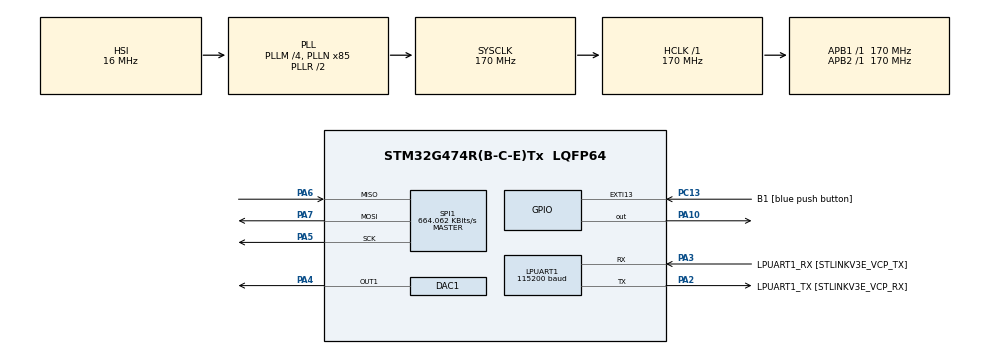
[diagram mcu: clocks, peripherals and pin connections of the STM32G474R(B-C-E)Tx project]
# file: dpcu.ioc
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LPUART1.BaudRate=115200
Mcu.Family=STM32G4
Mcu.Name=STM32G474R(B-C-E)Tx
Mcu.Package=LQFP64
NVIC.EXTI15_10_IRQn=true\:0\:0\:false\:false\:true\:true\:true\:true
NVIC.PriorityGroup=NVIC_PRIORITYGROUP_4
NVIC.SPI1_IRQn=true\:0\:0\:false\:false\:true\:true\:true\:true
NVIC.TIM6_DAC_IRQn=true\:0\:0\:false\:false\:true\:true\:true\:true
PA10.Signal=GPIO_Output
PA13.GPIO_Label=T_SWDIO
PA13.Signal=SYS_JTMS-SWDIO
PA14.GPIO_Label=T_SWCLK
PA14.Signal=SYS_JTCK-SWCLK
PA2.GPIO_Label=LPUART1_TX [STLINKV3E_VCP_RX]
PA2.Mode=Asynchronous
PA2.Signal=LPUART1_TX
PA3.GPIO_Label=LPUART1_RX [STLINKV3E_VCP_TX]
PA3.Mode=Asynchronous
PA3.Signal=LPUART1_RX
PA4.Signal=COMP_DAC11_group
PA5.Mode=Full_Duplex_Master
PA5.Signal=SPI1_SCK
PA6.Mode=Full_Duplex_Master
PA6.Signal=SPI1_MISO
PA7.Mode=Full_Duplex_Master
PA7.Signal=SPI1_MOSI
PB3.GPIO_Label=T_SWO
PB3.Signal=SYS_JTDO-SWO
PC13.GPIO_Label=B1 [blue push button]
PC13.Signal=GPXTI13
PC14-OSC32_IN.GPIO_Label=RCC_OSC32_IN
PC14-OSC32_IN.Signal=RCC_OSC32_IN
PC15-OSC32_OUT.GPIO_Label=RCC_OSC32_OUT
PC15-OSC32_OUT.Signal=RCC_OSC32_OUT
PF0-OSC_IN.GPIO_Label=RCC_OSC_IN
PF0-OSC_IN.Signal=RCC_OSC_IN
PF1-OSC_OUT.GPIO_Label=RCC_OSC_OUT
PF1-OSC_OUT.Signal=RCC_OSC_OUT
ProjectManager.HeapSize=0x200
ProjectManager.StackSize=0x400
ProjectManager.TargetToolchain=STM32CubeIDE
RCC.ADC12Freq_Value=170000000
RCC.ADC345Freq_Value=170000000
RCC.AHBFreq_Value=170000000
RCC.APB1Freq_Value=170000000
RCC.APB1TimFreq_Value=170000000
RCC.APB2Freq_Value=170000000
RCC.APB2TimFreq_Value=170000000
RCC.CortexFreq_Value=170000000
RCC.EXTERNAL_CLOCK_VALUE=12288000
RCC.HCLKFreq_Value=170000000
RCC.HSE_VALUE=24000000
RCC.HSI48_VALUE=48000000
RCC.HSI_VALUE=16000000
RCC.LSE_VALUE=32768
RCC.PLLM=RCC_PLLM_DIV4
RCC.PLLN=85
RCC.RTCClockSelection=RCC_RTCCLKSOURCE_LSE
RCC.SYSCLKFreq_VALUE=170000000
RCC.SYSCLKSource=RCC_SYSCLKSOURCE_PLLCLK
RCC.USBFreq_Value=170000000
RCC.VCOOutputFreq_Value=340000000
SH.COMP_DAC11_group.0=DAC1_OUT1,DAC_OUT1
SPI1.BaudRatePrescaler=SPI_BAUDRATEPRESCALER_256
SPI1.CalculateBaudRate=664.062 KBits/s
SPI1.DataSize=SPI_DATASIZE_8BIT
SPI1.Direction=SPI_DIRECTION_2LINES
SPI1.Mode=SPI_MODE_MASTER
SPI1.VirtualType=VM_MASTER
TIM6.PeriodNoDither=17000 - 1
TIM6.Prescaler=10000 - 1
VP_SYS_VS_DBSignals.Mode=DisableDeadBatterySignals
VP_TIM6_VS_ClockSourceINT.Mode=Enable_Timer
board=NUCLEO-G474RE

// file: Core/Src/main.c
/* USER CODE BEGIN Header */
/**
  ******************************************************************************
  * @file           : main.c
  * @brief          : Main program body
  ******************************************************************************
  * @attention
  *
  * Copyright (c) 2024 STMicroelectronics.
  * All rights reserved.
  *
  * This software is licensed under terms that can be found in the LICENSE file
  * in the root directory of this software component.
  * If no LICENSE file comes with this software, it is provided AS-IS.
  *
  ******************************************************************************
  */
/* USER CODE END Header */
#include "main.h"
#include "dac.h"
#include "usart.h"
#include "spi.h"
#include "tim.h"
#include "gpio.h"

/* USER CODE BEGIN Includes */
#include <stdlib.h>
#include <stdbool.h>
/* USER CODE END Includes */

/* USER CODE BEGIN PV */
uint16_t dac_value = 0;
uint16_t start_time = 0;
uint16_t elapsed_time = 0;
bool acs_sim = false;
/* USER CODE END PV */

void SystemClock_Config(void);

/* USER CODE BEGIN 0 */
void HAL_TIM_PeriodElapsedCallback(TIM_HandleTypeDef *htim) {
	if (htim == &htim6) {
		acs_sim = true;
	}
}
/* USER CODE END 0 */

int main(void)
{

  /* MCU Configuration--------------------------------------------------------*/

  /* Reset of all peripherals, Initializes the Flash interface and the Systick. */
  HAL_Init();

  /* Configure the system clock */
  SystemClock_Config();

  /* Initialize all configured peripherals */
  MX_GPIO_Init();
  MX_LPUART1_UART_Init();
  MX_SPI1_Init();
  MX_DAC1_Init();
  MX_TIM6_Init();
  /* USER CODE BEGIN 2 */
	HAL_UART_Transmit(&hlpuart1, (uint8_t*)"dpcu\n", 5, 1000);
	HAL_DAC_Start(&hdac1, DAC_CHANNEL_1);
	HAL_TIM_Base_Start_IT(&htim6);
  /* USER CODE END 2 */

  /* Infinite loop */
  /* USER CODE BEGIN WHILE */
  while (1)
  {
	HAL_DAC_SetValue(&hdac1, DAC_CHANNEL_1, DAC_ALIGN_12B_R, dac_value);
	if (dac_value < 4095) {
		dac_value++;
	} else {
		dac_value = 0;
	}

	if(acs_sim) {
		if(elapsed_time == 0) {
			start_time = __HAL_TIM_GET_COUNTER(&htim6);
		}

		HAL_GPIO_WritePin(GPIOA, GPIO_PIN_10, SET);

		elapsed_time = __HAL_TIM_GET_COUNTER(&htim6) - start_time;
		if(elapsed_time > 8500) {
			elapsed_time = 0;
			HAL_GPIO_WritePin(GPIOA, GPIO_PIN_10, RESET);
			acs_sim = false;
		}
	}
    /* USER CODE END WHILE */

  }
}

void SystemClock_Config(void)
{
  RCC_OscInitTypeDef RCC_OscInitStruct = {0};
  RCC_ClkInitTypeDef RCC_ClkInitStruct = {0};

  /** Configure the main internal regulator output voltage
  */
  HAL_PWREx_ControlVoltageScaling(PWR_REGULATOR_VOLTAGE_SCALE1_BOOST);

  /** Initializes the RCC Oscillators according to the specified parameters
  * in the RCC_OscInitTypeDef structure.
  */
  RCC_OscInitStruct.OscillatorType = RCC_OSCILLATORTYPE_HSI;
  RCC_OscInitStruct.HSIState = RCC_HSI_ON;
  RCC_OscInitStruct.HSICalibrationValue = RCC_HSICALIBRATION_DEFAULT;
  RCC_OscInitStruct.PLL.PLLState = RCC_PLL_ON;
  RCC_OscInitStruct.PLL.PLLSource = RCC_PLLSOURCE_HSI;
  RCC_OscInitStruct.PLL.PLLM = RCC_PLLM_DIV4;
  RCC_OscInitStruct.PLL.PLLN = 85;
  RCC_OscInitStruct.PLL.PLLP = RCC_PLLP_DIV2;
  RCC_OscInitStruct.PLL.PLLQ = RCC_PLLQ_DIV2;
  RCC_OscInitStruct.PLL.PLLR = RCC_PLLR_DIV2;
  if (HAL_RCC_OscConfig(&RCC_OscInitStruct) != HAL_OK)
  {
    Error_Handler();
  }

  /** Initializes the CPU, AHB and APB buses clocks
  */
  RCC_ClkInitStruct.ClockType = RCC_CLOCKTYPE_HCLK|RCC_CLOCKTYPE_SYSCLK
                              |RCC_CLOCKTYPE_PCLK1|RCC_CLOCKTYPE_PCLK2;
  RCC_ClkInitStruct.SYSCLKSource = RCC_SYSCLKSOURCE_PLLCLK;
  RCC_ClkInitStruct.AHBCLKDivider = RCC_SYSCLK_DIV1;
  RCC_ClkInitStruct.APB1CLKDivider = RCC_HCLK_DIV1;
  RCC_ClkInitStruct.APB2CLKDivider = RCC_HCLK_DIV1;

  if (HAL_RCC_ClockConfig(&RCC_ClkInitStruct, FLASH_LATENCY_4) != HAL_OK)
  {
    Error_Handler();
  }
}

void Error_Handler(void)
{
  __disable_irq();
  while (1)
  {
  }
}
